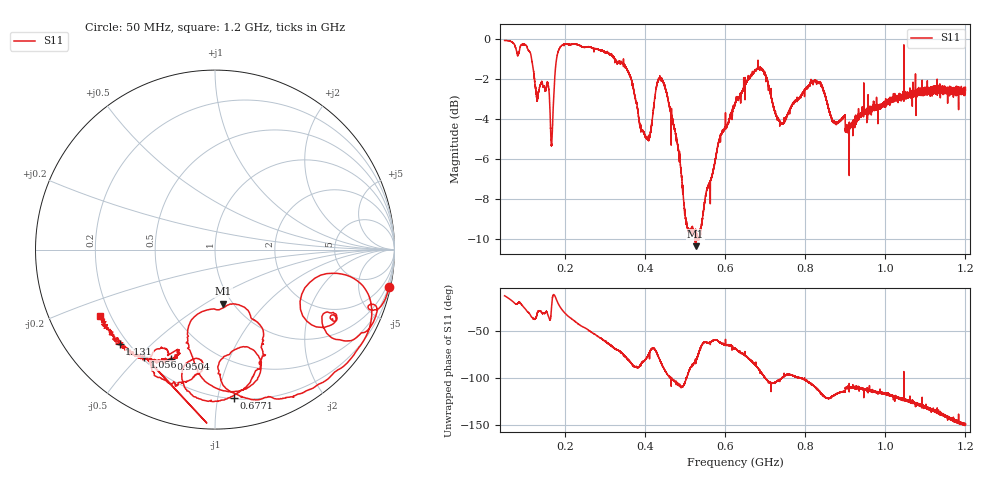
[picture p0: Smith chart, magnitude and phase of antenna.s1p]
! Calibrated NanoVNA antenna measurement, band-limited to the calibrated dynamic range
! Samples with nonfinite or |Gamma| >= 1 were excluded; see broadband-excluded.json
# Hz S RI R 50
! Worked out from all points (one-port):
!   40000 points, 50 MHz to 1.2 GHz, reference 50 ohm
!   lowest |S11| = -10.3 dB at 526.6 MHz (marker M1), VSWR 1.87, Z = 45.5 - j30.1 ohm
!   |S11| at or under -10 dB: 532.721 MHz to 532.8749 MHz (153.9 kHz wide, 0.0289 % of centre); 532.8928 MHz to 533.0844 MHz (191.6 kHz wide, 0.0359 % of centre); 533.0916 MHz to 533.7397 MHz (648 kHz wide, 0.121 % of centre)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
!   S11 on the Smith chart (normalised r, x): 50 MHz: 0.35, -9.36; 677.1 MHz: 0.21, -1.12; 950.4 MHz: 0.30, -0.64; 1.056 GHz: 0.21, -0.52; 1.131 GHz: 0.17, -0.40; 1.2 GHz: 0.16, -0.27
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5e7  0.9698 -0.2094
1.176775e8  0.7276 -0.5085
1.6477e8  0.4813 -0.3505
1.734812e8  0.736 -0.1438
1.8133e8  0.8661 -0.2857
1.9375e8  0.8586 -0.4417
2.6367e8  0.614 -0.732
3.375e8  0.283 -0.8244
3.800788e8  0.0224 -0.6932
4.092888e8  0.1487 -0.5412
4.255325e8  0.2532 -0.6774
4.441338e8  0.0443 -0.7856
4.8125e8  -0.1477 -0.5282
5.2656e8  0.047 -0.3003
5.78655e8  0.2667 -0.4445
6.25e8  0.249 -0.6392
6.770662e8  0.1072 -0.8249
7.116238e8  -0.1829 -0.7223
7.38965e8  -0.1142 -0.6078
7.6875e8  -0.0824 -0.6838
8.186888e8  -0.2244 -0.7425
8.486175e8  -0.3587 -0.6342
9.125e8  -0.2004 -0.5737
9.503925e8  -0.2437 -0.6111
1.056106e9  -0.395 -0.5974
1.05625e9  -0.4035 -0.5968
1.130569e9  -0.5312 -0.5269
1.2e9  -0.6381 -0.3847
